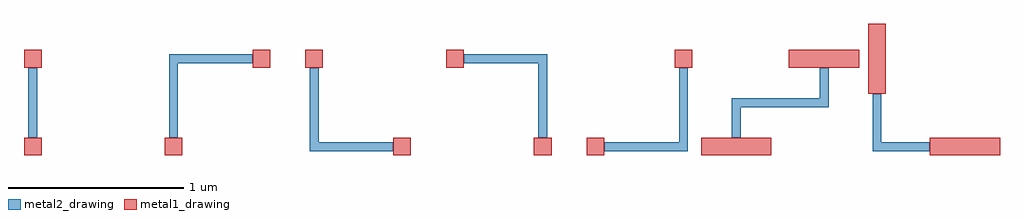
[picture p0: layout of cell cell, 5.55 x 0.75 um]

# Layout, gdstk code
import gdstk
lib = gdstk.Library(unit=1e-6, precision=1e-09)
def R(c, l, rs):  # rectangles x0, y0, x1, y1
    for r in rs: c.add(gdstk.rectangle(r[:2], r[2:], *l))
metal1_drawing = (8, 0)
metal2_drawing = (10, 0)

cell = lib.new_cell('cell')
R(cell, metal1_drawing, [(-0.05,-0.05,0.05,0.05), (0.75,-0.05,0.85,0.05), (2.05,-0.05,2.15,0.05), (2.85,-0.05,2.95,0.05), (3.15,-0.05,3.25,0.05), (3.8,-0.05,4.2,0.05), (5.1,-0.05,5.5,0.05), (4.75,0.3,4.85,0.7), (-0.05,0.45,0.05,0.55), (1.25,0.45,1.35,0.55), (1.55,0.45,1.65,0.55), (2.35,0.45,2.45,0.55), (3.65,0.45,3.75,0.55), (4.3,0.45,4.7,0.55)])
cell.add(gdstk.FlexPath([(0,0.45),(0,0.05)], 0.05, ends="flush", simple_path=True, layer=10, datatype=0))  # metal2_drawing
cell.add(gdstk.FlexPath([(0.8,0.05),(0.8,0.5),(1.25,0.5)], 0.05, ends="flush", simple_path=True, layer=10, datatype=0))  # metal2_drawing
cell.add(gdstk.FlexPath([(1.6,0.45),(1.6,0),(2.05,0)], 0.05, ends="flush", simple_path=True, layer=10, datatype=0))  # metal2_drawing
cell.add(gdstk.FlexPath([(2.9,0.05),(2.9,0.5),(2.45,0.5)], 0.05, ends="flush", simple_path=True, layer=10, datatype=0))  # metal2_drawing
cell.add(gdstk.FlexPath([(3.7,0.45),(3.7,0),(3.25,0)], 0.05, ends="flush", simple_path=True, layer=10, datatype=0))  # metal2_drawing
cell.add(gdstk.FlexPath([(4,0.05),(4,0.25),(4.5,0.25),(4.5,0.45)], 0.05, ends="flush", simple_path=True, layer=10, datatype=0))  # metal2_drawing
cell.add(gdstk.FlexPath([(4.8,0.3),(4.8,0),(5.1,0)], 0.05, ends="flush", simple_path=True, layer=10, datatype=0))  # metal2_drawing

lib.write_gds('cell.gds')
